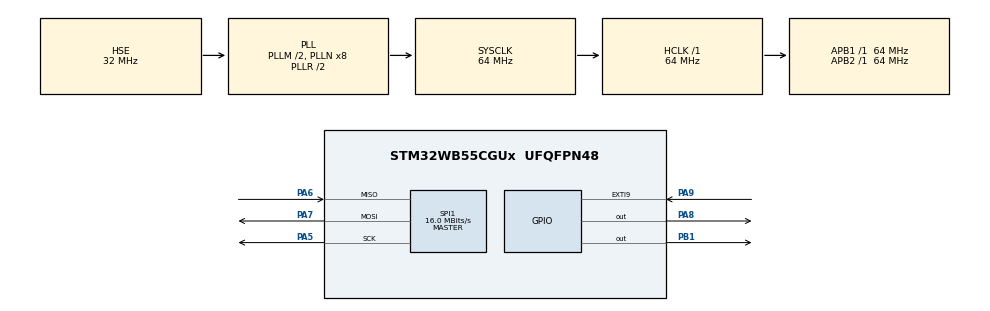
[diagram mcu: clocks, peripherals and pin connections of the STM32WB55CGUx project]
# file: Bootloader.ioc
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Mcu.Family=STM32WB
Mcu.Name=STM32WB55CGUx
Mcu.Package=UFQFPN48
NVIC.PriorityGroup=NVIC_PRIORITYGROUP_4
OSC_IN.Mode=HSE-External-Oscillator
OSC_IN.Signal=RCC_OSC_IN
OSC_OUT.Mode=HSE-External-Oscillator
OSC_OUT.Signal=RCC_OSC_OUT
PA13.Mode=Serial_Wire
PA13.Signal=SYS_JTMS-SWDIO
PA14.Mode=Serial_Wire
PA14.Signal=SYS_JTCK-SWCLK
PA5.Mode=Full_Duplex_Master
PA5.Signal=SPI1_SCK
PA6.Mode=Full_Duplex_Master
PA6.Signal=SPI1_MISO
PA7.Mode=Full_Duplex_Master
PA7.Signal=SPI1_MOSI
PA8.GPIO_Speed=GPIO_SPEED_FREQ_HIGH
PA8.PinState=GPIO_PIN_SET
PA8.Signal=GPIO_Output
PA9.GPIO_ModeDefaultEXTI=GPIO_MODE_IT_RISING_FALLING
PA9.Signal=GPXTI9
PB1.GPIO_Speed=GPIO_SPEED_FREQ_HIGH
PB1.Signal=GPIO_Output
ProjectManager.HeapSize=0x400
ProjectManager.StackSize=0x10000
ProjectManager.TargetToolchain=MDK-ARM V5.27
RCC.ADCCLockSelection=RCC_ADCCLKSOURCE_SYSCLK
RCC.ADCFreq_Value=64000000
RCC.AHB2CLKDivider=RCC_SYSCLK_DIV2
RCC.AHBFreq_Value=64000000
RCC.APB1Freq_Value=64000000
RCC.APB1TimFreq_Value=64000000
RCC.APB2Freq_Value=64000000
RCC.APB2TimFreq_Value=64000000
RCC.APB3Freq_Value=16000000
RCC.CortexFreq_Value=64000000
RCC.HCLKFreq_Value=64000000
RCC.HSE_VALUE=32000000
RCC.HSI48_VALUE=48000000
RCC.HSI_VALUE=16000000
RCC.LSE_VALUE=32768
RCC.PLLM=RCC_PLLM_DIV2
RCC.PLLSourceVirtual=RCC_PLLSOURCE_HSE
RCC.RFWKPClockSelection=RCC_RFWKPCLKSOURCE_LSE
RCC.RTCClockSelection=RCC_RTCCLKSOURCE_LSE
RCC.SYSCLKFreq_VALUE=64000000
RCC.SYSCLKSource=RCC_SYSCLKSOURCE_PLLCLK
RCC.USBFreq_Value=64000000
RCC.VCOOutputFreq_Value=128000000
SPI1.BaudRatePrescaler=SPI_BAUDRATEPRESCALER_4
SPI1.CalculateBaudRate=16.0 MBits/s
SPI1.DataSize=SPI_DATASIZE_8BIT
SPI1.Direction=SPI_DIRECTION_2LINES
SPI1.Mode=SPI_MODE_MASTER
SPI1.VirtualType=VM_MASTER
board=custom

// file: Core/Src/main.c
/* USER CODE BEGIN Header */
/**
  ******************************************************************************
  * @file           : main.c
  * @brief          : Main program body
  ******************************************************************************
  * @attention
  *
  * <h2><center>&copy; Copyright (c) 2021 STMicroelectronics.
  * All rights reserved.</center></h2>
  *
  * This software component is licensed by ST under BSD 3-Clause license,
  * the "License"; You may not use this file except in compliance with the
  * License. You may obtain a copy of the License at:
  *                        opensource.org/licenses/BSD-3-Clause
  *
  ******************************************************************************
  */
/* USER CODE END Header */
#include "main.h"

/* USER CODE BEGIN Includes */
#include "System.h"
#include "ff.h"
#include "IHC.h"
/* USER CODE END Includes */

/* USER CODE BEGIN PD */
#define FLASH_MEM_ADDR 0x08000000U
#define START_PAGE 5U
#define PAGES_TO_ERASE 14U
#define PAGE_SIZE 4096U

#define LED_ON GPIOB->BSRR |= GPIO_BSRR_BR1
#define LED_OFF GPIOB->BSRR |= GPIO_BSRR_BS1
#define LED_REVERSE GPIOB->ODR ^= GPIO_ODR_OD1

#define DELAY_NO_APP_DETECT_ON  100
#define DELAY_NO_APP_DETECT_OFF 100

#define DELAY_USD_ERROR_ON  100
#define DELAY_USD_ERROR_OFF 300

#define DELAY_FLASH_ERASE_ERROR_ON  300
#define DELAY_FLASH_ERASE_ERROR_OFF 100
/* USER CODE END PD */

SPI_HandleTypeDef hspi1;

void SystemClock_Config(void);
static void MX_GPIO_Init(void);
static void MX_SPI1_Init(void);

/* USER CODE BEGIN 0 */
uint32_t eraseFlash(void)
{
	HAL_FLASH_Unlock();
	FLASH_EraseInitTypeDef EraseInitStruct;
	HAL_FLASHEx_AllowOperation();

	EraseInitStruct.TypeErase = FLASH_TYPEERASE_PAGES;
	EraseInitStruct.Page = START_PAGE;
	EraseInitStruct.NbPages = PAGES_TO_ERASE;
	uint32_t PAGEError = FLASH_PAGE_NB;
	__HAL_FLASH_CLEAR_FLAG(FLASH_FLAG_OPTVERR);
	HAL_FLASHEx_Erase(&EraseInitStruct,&PAGEError);
	//uint32_t i;
	//HAL_FLASH_Unlock();
	//for (i = START_PAGE; i < STOP_PAGE; i++)
		//FLASH_PageErase(FLASH_MEM_ADDR + i * PAGE_SIZE);
	HAL_FLASH_Lock();
	return PAGEError;
}

uint8_t isDataProgrammed(uint32_t req_data, uint32_t got_data)
{
	if (req_data == got_data)
		return 1;
	return 0;
}

void jumpToApplication(void)
{
	uint32_t app_jump_address;

	typedef void(*pFunction)(void);	//объявляем пользовательский тип
	pFunction Jump_To_Application; //и создаём переменную этого типа

	 __disable_irq();//запрещаем прерывания
	SCB->VTOR = (FLASH_MEM_ADDR + START_PAGE * PAGE_SIZE); // Перемещаем таблицу прерываний
	app_jump_address = *( uint32_t*) ((FLASH_MEM_ADDR + START_PAGE * PAGE_SIZE) + 4); //извлекаем адрес перехода из вектора Reset
	Jump_To_Application = (pFunction)app_jump_address;  //приводим его к пользовательскому типу
	__set_MSP(*(__IO uint32_t*) (FLASH_MEM_ADDR + START_PAGE * PAGE_SIZE));  //устанавливаем SP приложения
	Jump_To_Application();		                        //запускаем приложение
}

uint8_t isAppAvailable(void)
{
	uint32_t table_address = (FLASH_MEM_ADDR + START_PAGE * PAGE_SIZE);
	uint32_t table_addr_data = *((uint32_t*)table_address);
	if (table_addr_data == 0xFFFFFFFF)
		return 0;
	return 1;
}

void eternalFlashing(uint32_t on_time, uint32_t off_time)
{
	while(1)
	{
		LED_ON;
		HAL_Delay(on_time);
		LED_OFF;
		HAL_Delay(off_time);
	}
}

void eternalFlashing_FMW_DOWNLOAD_ERROR(void)
{
	while(1)
	{
		for (uint32_t i = 100; i <= 400; i+=50)
		{
			LED_ON;
			HAL_Delay(i);
			LED_OFF;
			HAL_Delay(500 - i);
		}
	}
}

void turnOffSPI(void)
{
	SPI1->CR1 &= ~SPI_CR1_SPE;
	SysTick->CTRL &= ~SysTick_CTRL_ENABLE_Msk;
}

/* USER CODE END 0 */

int main(void)
{
  /* USER CODE BEGIN 1 */
	InitSystemStructure();
	//FLASH->SR |= FLASH_SR_PGSERR | FLASH_SR_PGAERR;
  /* USER CODE END 1 */

  /* MCU Configuration--------------------------------------------------------*/

  /* Reset of all peripherals, Initializes the Flash interface and the Systick. */
  HAL_Init();

  /* Configure the system clock */
  SystemClock_Config();

  /* Initialize all configured peripherals */
  MX_GPIO_Init();
  MX_SPI1_Init();
  /* USER CODE BEGIN 2 */

	HAL_Delay(50); // Initialization
	sys.tim16.drv.initTimer();
	SPI1->CR1 |= SPI_CR1_SPE;
	HAL_Delay(50);

	if (sys.uSD.drv.isAvailable()) // If uSD is attached
	{
		FATFS fs;
		FRESULT res;

		res = f_mount(&fs, "", 1); // filesystem mounting
		if (res != FR_OK) // if fs is not mounted
			eternalFlashing(DELAY_USD_ERROR_ON, DELAY_USD_ERROR_OFF); // eternal flashing

		{
			FILINFO fno;
			DIR dr;
			f_findfirst(&dr, &fno, "/", "bootloader_info.txt");
			if (fno.fname[0] == 0)
			{
				FIL file;
				f_open(&file, "bootloader_info.txt", FA_WRITE | FA_CREATE_ALWAYS);
				char writedata[] = "Project: ZSpectrum\nBootloader ver.: 0.0.1\nInfo: test_bootloader";
				uint32_t bwr;
				f_write(&file, writedata, sizeof(writedata), &bwr);
				f_close(&file);
			}
		}

		FILINFO filinfo;
		DIR dir;
		res = f_findfirst(&dir, &filinfo, "/", "*.hex"); // detecting firmware

		if (filinfo.fname[0] == 0) // if firmware update file is not detected
		{
			//f_mount(NULL, "", 1); // unmounting fs
			if (isAppAvailable()) // if application is allocated in memory
			{
				turnOffSPI();
				jumpToApplication(); // jump to application
			}
			else // if no app detected
				eternalFlashing(DELAY_NO_APP_DETECT_ON, DELAY_NO_APP_DETECT_OFF); // eternal led flashing
		}
		else // if firmware update file is detected
		{
			struct IH_Data codeData;
			struct IH_Data compData;
			compData.ByteDataLength = 0;
			compData.LowerAddress = 0;
			TCHAR buff[256];
			uint32_t ADDR = 0;
			uint32_t eraseError;
			FIL file;
			res = f_open(&file, filinfo.fname, FA_READ | FA_OPEN_EXISTING); // open firmware file
			if (res != FR_OK) // if file was not opened
				eternalFlashing(DELAY_USD_ERROR_ON, DELAY_USD_ERROR_OFF); // go to eternal flashing
			eraseError = eraseFlash(); // erasing memory for new fmw
			if (eraseError != 0xFFFFFFFF) // if mem was not erased correctly
				eternalFlashing(DELAY_FLASH_ERASE_ERROR_ON, DELAY_FLASH_ERASE_ERROR_OFF); // go to eternal cycle

			HAL_FLASH_Unlock(); // unlocking flash
			do
			{
				f_gets(buff, 256, &file); // getting string from fmw file
				IH_ProcessString(&codeData, buff); // analyzing string
				if (!codeData.IsIHexString) // if str is not hex string, go to next string
					continue;
				if (codeData.IsCheckSumError) // if checksum error detected
				{
					HAL_FLASH_Lock(); // locking flash
					eternalFlashing_FMW_DOWNLOAD_ERROR(); // got to eternal cycle
				}
				if (codeData.DataType == IH_ExtLinAddrType || codeData.DataType == IH_ExtSegAddrType) // if data type == addr type
					ADDR = codeData.LowerAddress << 16; // collecting it
				if (codeData.DataType == IH_DataType) // if sting is data type
				{
					uint8_t i; // VER 2 BOOTLOADER
					for (i = compData.ByteDataLength; i < compData.ByteDataLength + codeData.ByteDataLength; i++)
						compData.ByteData[i] = codeData.ByteData[i - compData.ByteDataLength];
					compData.LowerAddress = codeData.LowerAddress - compData.ByteDataLength;
					compData.ByteDataLength = compData.ByteDataLength + codeData.ByteDataLength;

					uint8_t full64len = compData.ByteDataLength / 8;

					for (i = 0; i < full64len; i++)
					{
						uint32_t addr = (ADDR & 0xFFFF0000) + (compData.LowerAddress & 0x0000FFFF) + i * 8;
						uint32_t dat1 = compData.ByteData[i*8]            + ((uint32_t)compData.ByteData[i*8 + 1] << 8)
						   + ((uint32_t)compData.ByteData[i*8 + 2] << 16) + ((uint32_t)compData.ByteData[i*8 + 3] << 24);
						uint32_t dat2 = compData.ByteData[i*8 + 4]        + ((uint32_t)compData.ByteData[i*8 + 5] << 8)
   						 + ((uint32_t)compData.ByteData[i*8 + 6] << 16) + ((uint32_t)compData.ByteData[i*8 + 7] << 24);
						uint64_t data = (uint64_t)dat1 + ((uint64_t)dat2 << 32);
						__HAL_FLASH_CLEAR_FLAG(FLASH_FLAG_OPTVERR);
  					HAL_FLASH_Program(FLASH_TYPEPROGRAM_DOUBLEWORD, addr, data);

						uint64_t checkProgrammed = *(uint64_t*)addr;
						if (data != checkProgrammed)
						{
							HAL_FLASH_Lock();
							eternalFlashing_FMW_DOWNLOAD_ERROR();
						}
					}

					uint8_t sLen = full64len * 8;
					for (i = sLen; i < compData.ByteDataLength; i++)
						compData.ByteData[i - sLen] = compData.ByteData[i];
					compData.ByteDataLength = compData.ByteDataLength - sLen;

				}
			} while(codeData.DataType != IH_LastEntryType && buff[0] != 0); // do that until empty string or data type == last entry type

			if (compData.ByteDataLength > 0)
			{
				uint8_t allignLen = (compData.ByteDataLength / 8 + 1) * 8;
				uint8_t i;
				for (i = compData.ByteDataLength; i < allignLen; i++)
					compData.ByteData[i] = 0xFF;

				uint8_t full64len = allignLen / 8;

					for (i = 0; i < full64len; i++)
					{
						uint32_t addr = (ADDR & 0xFFFF0000) + (compData.LowerAddress & 0x0000FFFF) + i * 8;
						uint32_t dat1 = compData.ByteData[i*8]            + ((uint32_t)compData.ByteData[i*8 + 1] << 8)
						   + ((uint32_t)compData.ByteData[i*8 + 2] << 16) + ((uint32_t)compData.ByteData[i*8 + 3] << 24);
						uint32_t dat2 = compData.ByteData[i*8 + 4]        + ((uint32_t)compData.ByteData[i*8 + 5] << 8)
   						 + ((uint32_t)compData.ByteData[i*8 + 6] << 16) + ((uint32_t)compData.ByteData[i*8 + 7] << 24);
						uint64_t data = (uint64_t)dat1 + ((uint64_t)dat2 << 32);
						__HAL_FLASH_CLEAR_FLAG(FLASH_FLAG_OPTVERR); // clearing flag
  					HAL_FLASH_Program(FLASH_TYPEPROGRAM_DOUBLEWORD, addr, data);

						uint64_t checkProgrammed = *(uint64_t*)addr;
						if (data != checkProgrammed) // if word wasn't programmed
						{
							HAL_FLASH_Lock(); // locking flash
							eternalFlashing_FMW_DOWNLOAD_ERROR(); // go to eternal cycle
						}
					}
			}

			HAL_FLASH_Lock(); // locking flash
			f_close(&file); // closing fmw file
			f_unlink(filinfo.fname); // deleting fmw file
			//f_mount(NULL, "", 1); // unmounting fs
			if (isAppAvailable()) // if application is allocated in memory
			{
				turnOffSPI();
				jumpToApplication(); // jump to application
			}
			else // if no app detected
				eternalFlashing(DELAY_NO_APP_DETECT_ON, DELAY_NO_APP_DETECT_OFF);
				//eternalFlashing_NO_APP_DETECTED(); // eternal led flashing
		}
	}
	else // if uSD is detached
	{
		if (isAppAvailable()) // if application is allocated in memory
		{
			turnOffSPI();
			jumpToApplication(); // jump to application
		}
		else // if no app detected
			eternalFlashing(DELAY_NO_APP_DETECT_ON, DELAY_NO_APP_DETECT_OFF);
			//eternalFlashing_NO_APP_DETECTED(); // eternal led flashing
	}

  /* USER CODE END 2 */

  /* Infinite loop */
  while (1)
  {

  }
}

void SystemClock_Config(void)
{
  RCC_OscInitTypeDef RCC_OscInitStruct = {0};
  RCC_ClkInitTypeDef RCC_ClkInitStruct = {0};
  RCC_PeriphCLKInitTypeDef PeriphClkInitStruct = {0};

  /** Configure the main internal regulator output voltage
  */
  __HAL_PWR_VOLTAGESCALING_CONFIG(PWR_REGULATOR_VOLTAGE_SCALE1);
  /** Initializes the RCC Oscillators according to the specified parameters
  * in the RCC_OscInitTypeDef structure.
  */
  RCC_OscInitStruct.OscillatorType = RCC_OSCILLATORTYPE_HSI|RCC_OSCILLATORTYPE_HSE;
  RCC_OscInitStruct.HSEState = RCC_HSE_ON;
  RCC_OscInitStruct.HSIState = RCC_HSI_ON;
  RCC_OscInitStruct.HSICalibrationValue = RCC_HSICALIBRATION_DEFAULT;
  RCC_OscInitStruct.PLL.PLLState = RCC_PLL_ON;
  RCC_OscInitStruct.PLL.PLLSource = RCC_PLLSOURCE_HSE;
  RCC_OscInitStruct.PLL.PLLM = RCC_PLLM_DIV2;
  RCC_OscInitStruct.PLL.PLLN = 8;
  RCC_OscInitStruct.PLL.PLLP = RCC_PLLP_DIV2;
  RCC_OscInitStruct.PLL.PLLR = RCC_PLLR_DIV2;
  RCC_OscInitStruct.PLL.PLLQ = RCC_PLLQ_DIV2;
  if (HAL_RCC_OscConfig(&RCC_OscInitStruct) != HAL_OK)
  {
    Error_Handler();
  }
  /** Configure the SYSCLKSource, HCLK, PCLK1 and PCLK2 clocks dividers
  */
  RCC_ClkInitStruct.ClockType = RCC_CLOCKTYPE_HCLK4|RCC_CLOCKTYPE_HCLK2
                              |RCC_CLOCKTYPE_HCLK|RCC_CLOCKTYPE_SYSCLK
                              |RCC_CLOCKTYPE_PCLK1|RCC_CLOCKTYPE_PCLK2;
  RCC_ClkInitStruct.SYSCLKSource = RCC_SYSCLKSOURCE_PLLCLK;
  RCC_ClkInitStruct.AHBCLKDivider = RCC_SYSCLK_DIV1;
  RCC_ClkInitStruct.APB1CLKDivider = RCC_HCLK_DIV1;
  RCC_ClkInitStruct.APB2CLKDivider = RCC_HCLK_DIV1;
  RCC_ClkInitStruct.AHBCLK2Divider = RCC_SYSCLK_DIV2;
  RCC_ClkInitStruct.AHBCLK4Divider = RCC_SYSCLK_DIV1;

  if (HAL_RCC_ClockConfig(&RCC_ClkInitStruct, FLASH_LATENCY_3) != HAL_OK)
  {
    Error_Handler();
  }
  /** Initializes the peripherals clocks
  */
  PeriphClkInitStruct.PeriphClockSelection = RCC_PERIPHCLK_SMPS;
  PeriphClkInitStruct.SmpsClockSelection = RCC_SMPSCLKSOURCE_HSI;
  PeriphClkInitStruct.SmpsDivSelection = RCC_SMPSCLKDIV_RANGE1;
  if (HAL_RCCEx_PeriphCLKConfig(&PeriphClkInitStruct) != HAL_OK)
  {
    Error_Handler();
  }
}

static void MX_SPI1_Init(void)
{

  /* SPI1 parameter configuration*/
  hspi1.Instance = SPI1;
  hspi1.Init.Mode = SPI_MODE_MASTER;
  hspi1.Init.Direction = SPI_DIRECTION_2LINES;
  hspi1.Init.DataSize = SPI_DATASIZE_8BIT;
  hspi1.Init.CLKPolarity = SPI_POLARITY_LOW;
  hspi1.Init.CLKPhase = SPI_PHASE_1EDGE;
  hspi1.Init.NSS = SPI_NSS_SOFT;
  hspi1.Init.BaudRatePrescaler = SPI_BAUDRATEPRESCALER_4;
  hspi1.Init.FirstBit = SPI_FIRSTBIT_MSB;
  hspi1.Init.TIMode = SPI_TIMODE_DISABLE;
  hspi1.Init.CRCCalculation = SPI_CRCCALCULATION_DISABLE;
  hspi1.Init.CRCPolynomial = 7;
  hspi1.Init.CRCLength = SPI_CRC_LENGTH_DATASIZE;
  hspi1.Init.NSSPMode = SPI_NSS_PULSE_ENABLE;
  if (HAL_SPI_Init(&hspi1) != HAL_OK)
  {
    Error_Handler();
  }

}

static void MX_GPIO_Init(void)
{
  GPIO_InitTypeDef GPIO_InitStruct = {0};

  /* GPIO Ports Clock Enable */
  __HAL_RCC_GPIOA_CLK_ENABLE();
  __HAL_RCC_GPIOB_CLK_ENABLE();

  /*Configure GPIO pin Output Level */
  HAL_GPIO_WritePin(GPIOA, GPIO_PIN_8, GPIO_PIN_SET);

  /*Configure GPIO pin Output Level */
  HAL_GPIO_WritePin(GPIOB, GPIO_PIN_1, GPIO_PIN_RESET);

  /*Configure GPIO pin : PA8 */
  GPIO_InitStruct.Pin = GPIO_PIN_8;
  GPIO_InitStruct.Mode = GPIO_MODE_OUTPUT_PP;
  GPIO_InitStruct.Pull = GPIO_NOPULL;
  GPIO_InitStruct.Speed = GPIO_SPEED_FREQ_HIGH;
  HAL_GPIO_Init(GPIOA, &GPIO_InitStruct);

  /*Configure GPIO pin : PA9 */
  GPIO_InitStruct.Pin = GPIO_PIN_9;
  GPIO_InitStruct.Mode = GPIO_MODE_IT_RISING_FALLING;
  GPIO_InitStruct.Pull = GPIO_NOPULL;
  HAL_GPIO_Init(GPIOA, &GPIO_InitStruct);

  /*Configure GPIO pin : PB1 */
  GPIO_InitStruct.Pin = GPIO_PIN_1;
  GPIO_InitStruct.Mode = GPIO_MODE_OUTPUT_PP;
  GPIO_InitStruct.Pull = GPIO_NOPULL;
  GPIO_InitStruct.Speed = GPIO_SPEED_FREQ_HIGH;
  HAL_GPIO_Init(GPIOB, &GPIO_InitStruct);

}

void Error_Handler(void)
{
  __disable_irq();
  while (1)
  {
  }
}

/************************ (C) COPYRIGHT STMicroelectronics *****END OF FILE****/
